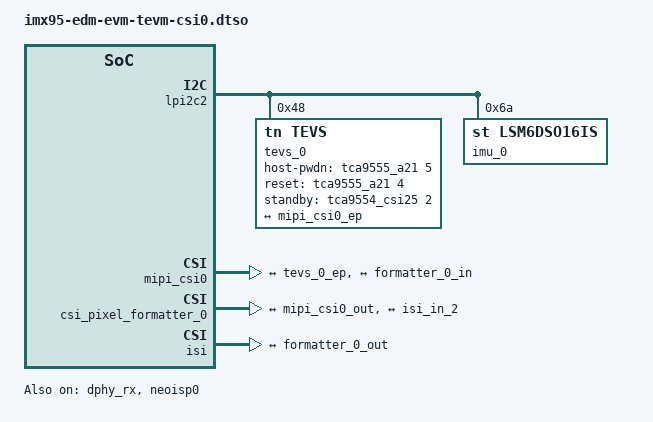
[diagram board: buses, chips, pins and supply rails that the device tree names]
// SPDX-License-Identifier: (GPL-2.0 OR MIT)
/*
 * Vision Overlay for Direct TechNexion TEVS Camera on CSI0
 * Configuration: Single TEVS on CSI0 (LPI2C2)
 *
 * Copyright 2024 TechNexion Ltd.
 *
 * Author: Richard Hu <richard.hu@technexion.com>
 *
 */

/dts-v1/;
/plugin/;

#include <dt-bindings/gpio/gpio.h>

/* TEVS on MIPI CSI0 */
&lpi2c2 {
	#address-cells = <1>;
	#size-cells = <0>;
	status = "okay";

	tevs_0: tevs@48 {
		compatible = "tn,tevs";
		reg = <0x48>;
		status = "okay";

		host-pwdn-gpios = <&tca9555_a21 5 GPIO_ACTIVE_HIGH>;
		reset-gpios = <&tca9555_a21 4 GPIO_ACTIVE_HIGH>;
		standby-gpios = <&tca9554_csi25 2 GPIO_ACTIVE_HIGH>;

		port {
			tevs_0_ep: endpoint {
				remote-endpoint = <&mipi_csi0_ep>;
				data-lanes = <1 2 3 4>;
				clock-lanes = <0>;
				clock-noncontinuous;
				link-frequencies = /bits/ 64 <400000000>;
			};
		};
	};

	imu_0: lsm6dsm@6a {
		compatible = "st,lsm6dso16is";
		reg = <0x6a>;
	};
};

&dphy_rx {
	status = "okay";
};

&neoisp0 {
	status = "okay";
};

&mipi_csi0 {
	status = "okay";

	ports {
		#address-cells = <1>;
		#size-cells = <0>;

		port@0 {
			reg = <0>;
			mipi_csi0_ep: endpoint {
				remote-endpoint = <&tevs_0_ep>;
				data-lanes = <1 2 3 4>;
				clock-lanes = <0>;
			};
		};

		port@1 {
			reg = <1>;
			mipi_csi0_out: endpoint {
				remote-endpoint = <&formatter_0_in>;
			};
		};
	};
};

&csi_pixel_formatter_0 {
	status = "okay";

	ports {
		#address-cells = <1>;
		#size-cells = <0>;

		port@0 {
			reg = <0>;

			formatter_0_in: endpoint {
				remote-endpoint = <&mipi_csi0_out>;
			};
		};

		port@1 {
			reg = <1>;

			formatter_0_out: endpoint {
				remote-endpoint = <&isi_in_2>;
			};
		};
	};
};

&isi {
	status = "okay";

	ports {
		#address-cells = <1>;
		#size-cells = <0>;

		port@2 {
			reg = <2>;

			isi_in_2: endpoint {
				remote-endpoint = <&formatter_0_out>;
			};
		};
	};
};
